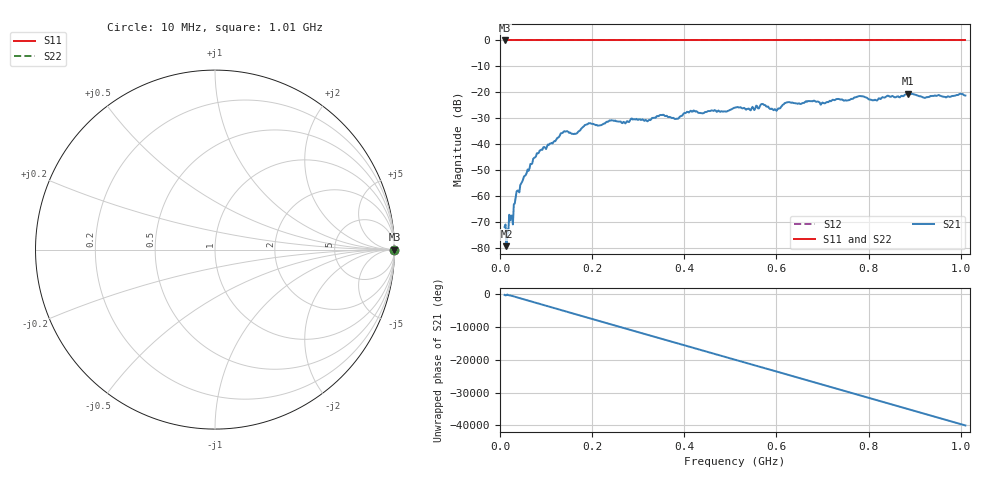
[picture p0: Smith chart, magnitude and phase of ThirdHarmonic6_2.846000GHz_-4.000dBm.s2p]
! 8/17/2025 7:40:20 AM
! C:\ANRITSUVNA\TEMP\TEMP.S2P
! CHANNEL.1
! TR.MEASUREMENT
! RAW.DATA
! RF.CORRECTION.OFF
! AVERAGING.OFF
! IF.BANDWIDTH: 5KHZ
! SWEEPTYPE:  FREQ.SWEEP(Linear)
! Reference Plane Port Info
! PORT:  PORT1  PORT2
! DISTANCE:  0  m  0  m
! TIME:  0  s  0  s
! PHASE.OFFSET:  0  deg.  0  deg.
! LOSS:  0  dB  0  dB
! REF.LOSS:  0  dB  0  dB
! REF.FREQ:  0  Hz  0  Hz
! Power Info
! POWER:  -20  dBm  -20  dBm
! EFF.POWER:  -20  dBm  -20  dBm
! SOURCE.ATTEN:  0  dB  0  dB
! TEST.ATTEN:  0  dB  0  dB
# GHZ S RI R 50.0
! FREQ.GHZ  S11RE  S11IM  S21RE  S21IM  S12RE  S12IM  S22RE  S22IM
!; PortSelection: Port_12
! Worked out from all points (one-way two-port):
!   501 points, 10 MHz to 1.01 GHz, reference 50 ohm
!   highest |S21| = -20.50 dB at 886 MHz (marker M1); lowest = -79.3 dB at 14 MHz (marker M2)
!   lowest |S11| = 0.0 dB at 10 MHz (marker M3)
!   |S11| at or under -10 dB: nowhere
!   |S22| runs from 0.0 to 0.0 dB; largest |S21 - S12| = 1.1
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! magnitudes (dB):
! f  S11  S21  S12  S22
! 10 MHz  0.0  -71.9  0.0  0.0
! 14 MHz  0.0  -79.3  0.0  0.0
! 26 MHz  0.0  -67.6  0.0  0.0
! 36 MHz  0.0  -58.2  0.0  0.0
! 76 MHz  0.0  -45.1  0.0  0.0
! 136 MHz  0.0  -35.6  0.0  0.0
! 162 MHz  0.0  -36.0  0.0  0.0
! 178 MHz  0.0  -33.7  0.0  0.0
! 194 MHz  0.0  -31.9  0.0  0.0
! 322 MHz  0.0  -30.9  0.0  0.0
! 344 MHz  0.0  -29.2  0.0  0.0
! 384 MHz  0.0  -30.2  0.0  0.0
! 416 MHz  0.0  -27.4  0.0  0.0
! 510 MHz  0.0  -25.9  0.0  0.0
! 548 MHz  0.0  -25.6  0.0  0.0
! 570 MHz  0.0  -24.5  0.0  0.0
! 598 MHz  0.0  -26.6  0.0  0.0
! 622 MHz  0.0  -23.9  0.0  0.0
! 678 MHz  0.0  -23.5  0.0  0.0
! 844 MHz  0.0  -21.5  0.0  0.0
! 886 MHz  0.0  -20.5  0.0  0.0
! 1.01 GHz  0.0  -21.2  0.0  0.0
